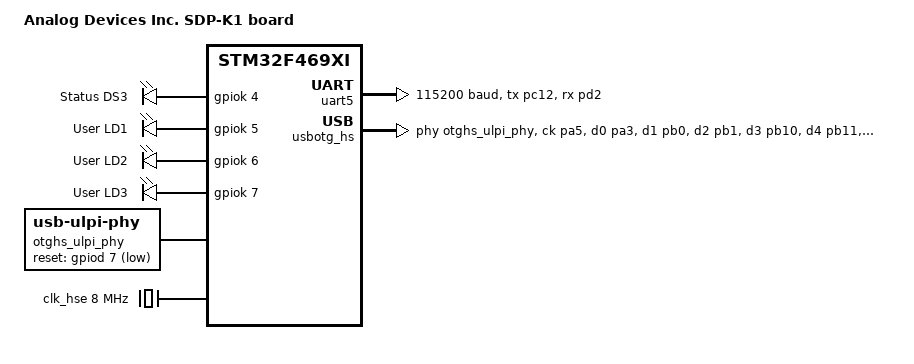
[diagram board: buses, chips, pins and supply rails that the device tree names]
/*
 * Copyright (c) 2024 BayLibre
 *
 * SPDX-License-Identifier: Apache-2.0
 */

/dts-v1/;
#include <st/f4/stm32f469Xi.dtsi>
#include <st/f4/stm32f469nihx-pinctrl.dtsi>
#include "arduino_r3_connector.dtsi"
#include "adi_sdp_120pin_connector.dtsi"

/ {
	model = "Analog Devices Inc. SDP-K1 board";
	compatible = "adi,sdp-k1";

	chosen {
		zephyr,console = &uart5;
		zephyr,shell-uart = &uart5;
		zephyr,sram = &sram0;
		zephyr,flash = &flash0;
		zephyr,ccm = &ccm0;
	};

	leds {
		compatible = "gpio-leds";

		status_led: led_ds3 {
			gpios = <&gpiok 4 GPIO_ACTIVE_HIGH>;
			label = "Status DS3";
		};

		green_led_1: led_ds4 {
			gpios = <&gpiok 5 GPIO_ACTIVE_HIGH>;
			label = "User LD1";
		};

		orange_led_2: led_ds5 {
			gpios = <&gpiok 6 GPIO_ACTIVE_HIGH>;
			label = "User LD2";
		};

		red_led_3: led_ds6 {
			gpios = <&gpiok 7 GPIO_ACTIVE_HIGH>;
			label = "User LD3";
		};
	};

	otghs_ulpi_phy: otghs_ulpis_phy {
		compatible = "usb-ulpi-phy";
		reset-gpios = <&gpiod 7 GPIO_ACTIVE_LOW>;
		#phy-cells = <0>;
	};

	aliases {
		led0 = &status_led;
	};
};

&clk_lsi {
	status = "okay";
};

&clk_hse {
	clock-frequency = <DT_FREQ_M(8)>;
	status = "okay";
};

&pll {
	div-m = <8>;
	mul-n = <336>;
	div-p = <2>;
	div-q = <7>;
	clocks = <&clk_hse>;
	status = "okay";
};

&rcc {
	clocks = <&pll>;
	clock-frequency = <DT_FREQ_M(168)>;
	ahb-prescaler = <1>;
	apb1-prescaler = <4>;
	apb2-prescaler = <2>;
};

&uart5 {
	pinctrl-0 = <&uart5_tx_pc12 &uart5_rx_pd2>;
	pinctrl-names = "default";
	current-speed = <115200>;
	status = "okay";
};

zephyr_udc0: &usbotg_hs {
	pinctrl-0 = <&usb_otg_hs_ulpi_ck_pa5
		     &usb_otg_hs_ulpi_d0_pa3
		     &usb_otg_hs_ulpi_d1_pb0
		     &usb_otg_hs_ulpi_d2_pb1
		     &usb_otg_hs_ulpi_d3_pb10
		     &usb_otg_hs_ulpi_d4_pb11
		     &usb_otg_hs_ulpi_d5_pb12
		     &usb_otg_hs_ulpi_d6_pb13
		     &usb_otg_hs_ulpi_d7_pb5
		     &usb_otg_hs_ulpi_stp_pc0
		     &usb_otg_hs_ulpi_dir_pc2
		     &usb_otg_hs_ulpi_nxt_pc3>;
	pinctrl-names = "default";
	maximum-speed = "high-speed";
	/* Enable OTGHSULPIEN rather than OTGHSEN */
	clocks = <&rcc STM32_CLOCK_BUS_AHB1 0x60000000>,
		 <&rcc STM32_SRC_PLL_Q NO_SEL>;
	phys = <&otghs_ulpi_phy>;
	status = "okay";
};
